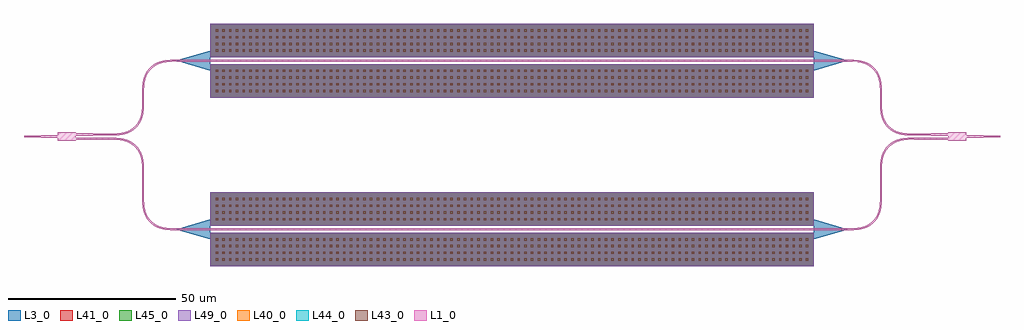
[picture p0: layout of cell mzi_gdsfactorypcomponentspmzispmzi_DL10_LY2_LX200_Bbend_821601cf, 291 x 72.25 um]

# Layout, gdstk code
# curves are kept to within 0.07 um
from math import pi, radians
import gdstk
lib = gdstk.Library(unit=1e-6, precision=1e-09)
def R(c, l, rs):  # rectangles x0, y0, x1, y1
    for r in rs: c.add(gdstk.rectangle(r[:2], r[2:], *l))
def P(c, l, *ps):  # polygons
    for p in ps: c.add(gdstk.Polygon(p, *l))
L1_0 = (1, 0)
L3_0 = (3, 0)
L40_0 = (40, 0)
L41_0 = (41, 0)
L43_0 = (43, 0)
L44_0 = (44, 0)
L45_0 = (45, 0)
L49_0 = (49, 0)

mmi1x2_gdsfactorypcompon = lib.new_cell('mmi1x2_gdsfactorypcomponentspmmispmmi1x2_WNone_WT1_LT10_1f097353')
P(mmi1x2_gdsfactorypcompon, L1_0, [(0,-1.25),(0,-0.5),(-10,-0.25),(-10,0.25),(0,0.5),(0,1.25),(5.5,1.25),(5.5,1.125),(15.5,0.875),(15.5,0.375),(5.5,0.125),(5.5,-0.125),(15.5,-0.375),(15.5,-0.875),(5.5,-1.125),(5.5,-1.25)])

bend_euler_gdsfactorypco = lib.new_cell('bend_euler_gdsfactorypcomponentspbendspbend_euler_RNone_387600b2')
P(bend_euler_gdsfactorypco, L1_0, [(0,-0.25),(0,0.25),(2.881,0.353),(3.952,0.52),(4.99,0.806),(6.431,1.505),(7.575,2.425),(8.495,3.569),(9.194,5.01),(9.48,6.048),(9.647,7.119),(9.75,10),(10.25,10),(10.158,7.205),(9.797,5.254),(9.457,4.312),(9.066,3.545),(8.5,2.715),(7.928,2.072),(7.285,1.5),(6.455,0.934),(5.688,0.543),(4.746,0.203),(2.795,-0.158)])

straight_gdsfactorypcomp = lib.new_cell('straight_gdsfactorypcomponentspwaveguidespstraight_L2_N_815d3d03')
R(straight_gdsfactorypcomp, L1_0, [(0,-0.25,2,0.25)])

c_straight_gdsfactorypcomp = lib.new_cell('straight_gdsfactorypcomponentspwaveguidespstraight_L7_N_ecd9aecc')
R(c_straight_gdsfactorypcomp, L1_0, [(0,-0.25,7,0.25)])

c_straight_gdsfactorypcomp_ = lib.new_cell('straight_gdsfactorypcomponentspwaveguidespstraight_L180_c6573083')
R(c_straight_gdsfactorypcomp_, L1_0, [(0,-0.25,180,0.25)])

taper_strip_to_ridge_gds = lib.new_cell('taper_strip_to_ridge_gdsfactorypcomponentsptapersptaper_eb2ac5f7')
R(taper_strip_to_ridge_gds, L1_0, [(0,-0.25,10,0.25)])
P(taper_strip_to_ridge_gds, L3_0, [(10,-3),(0,-0.075),(0,0.075),(10,3)])

compass_gdsfactorypcompo = lib.new_cell('compass_gdsfactorypcomponentspshapespcompass_S180_10_LS_ac7757bf')
R(compass_gdsfactorypcompo, L3_0, [(-90,-5,90,5)])

c_compass_gdsfactorypcompo = lib.new_cell('compass_gdsfactorypcomponentspshapespcompass_S180_10_LM_4e0af846')
R(c_compass_gdsfactorypcompo, L41_0, [(-90,-5,90,5)])

c_compass_gdsfactorypcompo_ = lib.new_cell('compass_gdsfactorypcomponentspshapespcompass_S180_10_LM_ffb56291')
R(c_compass_gdsfactorypcompo_, L45_0, [(-90,-5,90,5)])

c_compass_gdsfactorypcompo__ = lib.new_cell('compass_gdsfactorypcomponentspshapespcompass_S180_10_LM_d431091e')
R(c_compass_gdsfactorypcompo__, L49_0, [(-90,-5,90,5)])

via_gdsfactorypcomponent = lib.new_cell('via_gdsfactorypcomponentspviaspvia_S0p7_0p7_E1_LVIAC_BL_572539c8')
R(via_gdsfactorypcomponent, L40_0, [(-0.35,-0.35,0.35,0.35)])

c_via_gdsfactorypcomponent = lib.new_cell('via_gdsfactorypcomponentspviaspvia_S0p7_0p7_E1_LVIA1_BL_0068d91e')
R(c_via_gdsfactorypcomponent, L44_0, [(-0.35,-0.35,0.35,0.35)])

c_via_gdsfactorypcomponent_ = lib.new_cell('via_gdsfactorypcomponentspviaspvia_S0p7_0p7_E1_LVIA2_BL_c51b5ebb')
R(c_via_gdsfactorypcomponent_, L43_0, [(-0.35,-0.35,0.35,0.35)])

via_stack_gdsfactorypcom = lib.new_cell('via_stack_gdsfactorypcomponentspviaspvia_stack_S180_10__fe00a7d9')
via_stack_gdsfactorypcom.add(gdstk.Reference(compass_gdsfactorypcompo, (0,0)))
via_stack_gdsfactorypcom.add(gdstk.Reference(c_compass_gdsfactorypcompo, (0,0)))
via_stack_gdsfactorypcom.add(gdstk.Reference(c_compass_gdsfactorypcompo_, (0,0)))
via_stack_gdsfactorypcom.add(gdstk.Reference(c_compass_gdsfactorypcompo__, (0,0)))
r = gdstk.Reference(via_gdsfactorypcomponent, (-88,-3)); r.repetition = gdstk.Repetition(89, 4, v1=(2,0), v2=(0,2)); via_stack_gdsfactorypcom.add(r)
r = gdstk.Reference(c_via_gdsfactorypcomponent, (-88,-3)); r.repetition = gdstk.Repetition(89, 4, v1=(2,0), v2=(0,2)); via_stack_gdsfactorypcom.add(r)
r = gdstk.Reference(c_via_gdsfactorypcomponent_, (-88,-3)); r.repetition = gdstk.Repetition(89, 4, v1=(2,0), v2=(0,2)); via_stack_gdsfactorypcom.add(r)

straight_pin_gdsfactoryp = lib.new_cell('straight_pin_gdsfactorypcomponentspwaveguidespstraight__77e81821')
straight_pin_gdsfactoryp.add(gdstk.Reference(c_straight_gdsfactorypcomp_, (0,0)))
straight_pin_gdsfactoryp.add(gdstk.Reference(taper_strip_to_ridge_gds, (-10,0)))
straight_pin_gdsfactoryp.add(gdstk.Reference(taper_strip_to_ridge_gds, (190,0), rotation=pi))
straight_pin_gdsfactoryp.add(gdstk.Reference(via_stack_gdsfactorypcom, (90,6)))
straight_pin_gdsfactoryp.add(gdstk.Reference(via_stack_gdsfactorypcom, (90,-6)))

mzi_gdsfactorypcomponent = lib.new_cell('mzi_gdsfactorypcomponentspmzispmzi_DL10_LY2_LX200_Bbend_821601cf')
mzi_gdsfactorypcomponent.add(gdstk.Reference(mmi1x2_gdsfactorypcompon, (0,0)))
mzi_gdsfactorypcomponent.add(gdstk.Reference(bend_euler_gdsfactorypco, (15.5,-0.625), x_reflection=True))
mzi_gdsfactorypcomponent.add(gdstk.Reference(bend_euler_gdsfactorypco, (25.5,-17.625), rotation=3*pi/2))
mzi_gdsfactorypcomponent.add(gdstk.Reference(bend_euler_gdsfactorypco, (15.5,0.625)))
mzi_gdsfactorypcomponent.add(gdstk.Reference(bend_euler_gdsfactorypco, (35.5,22.625), rotation=pi))
mzi_gdsfactorypcomponent.add(gdstk.Reference(bend_euler_gdsfactorypco, (245.5,12.625), rotation=pi/2))
mzi_gdsfactorypcomponent.add(gdstk.Reference(bend_euler_gdsfactorypco, (245.5,10.625), rotation=3*pi/2))
mzi_gdsfactorypcomponent.add(gdstk.Reference(bend_euler_gdsfactorypco, (235.5,-27.625)))
mzi_gdsfactorypcomponent.add(gdstk.Reference(bend_euler_gdsfactorypco, (255.5,-0.625), rotation=pi))
mzi_gdsfactorypcomponent.add(gdstk.Reference(straight_gdsfactorypcomp, (25.5,10.625), rotation=pi/2))
mzi_gdsfactorypcomponent.add(gdstk.Reference(c_straight_gdsfactorypcomp, (25.5,-10.625), rotation=3*pi/2))
mzi_gdsfactorypcomponent.add(gdstk.Reference(straight_pin_gdsfactoryp, (45.5,22.625)))
mzi_gdsfactorypcomponent.add(gdstk.Reference(straight_pin_gdsfactoryp, (45.5,-27.625)))
mzi_gdsfactorypcomponent.add(gdstk.Reference(mmi1x2_gdsfactorypcompon, (271,0), rotation=pi, x_reflection=True))
mzi_gdsfactorypcomponent.add(gdstk.Reference(straight_gdsfactorypcomp, (245.5,10.625), rotation=pi/2))
mzi_gdsfactorypcomponent.add(gdstk.Reference(c_straight_gdsfactorypcomp, (245.5,-17.625), rotation=pi/2))

lib.write_gds('mzi_gdsfactorypcomponentspmzispmzi_DL10_LY2_LX200_Bbend_821601cf.gds')
